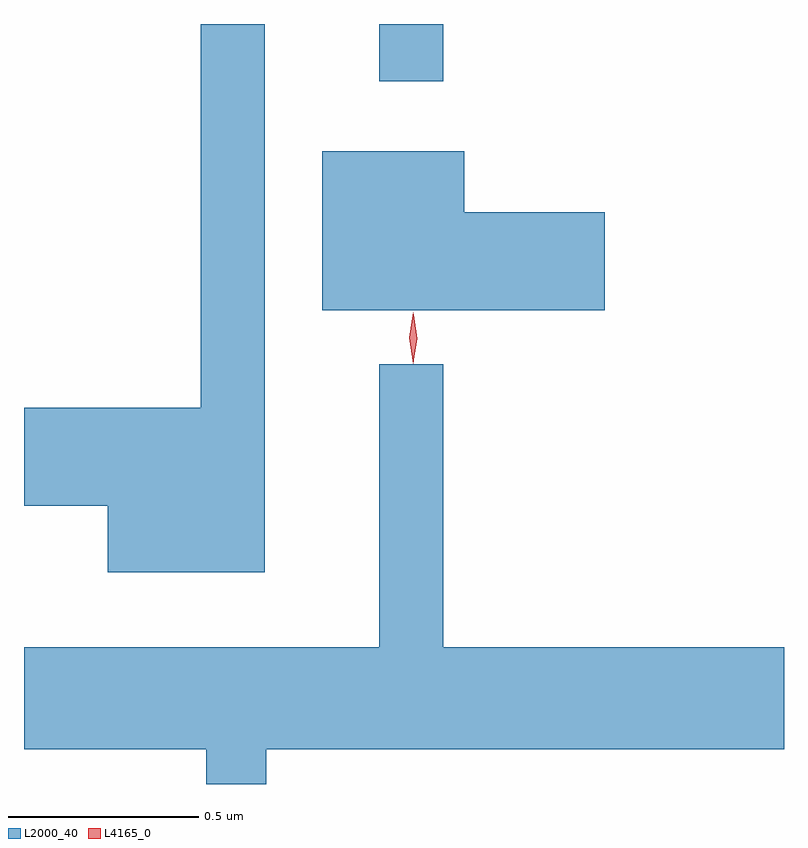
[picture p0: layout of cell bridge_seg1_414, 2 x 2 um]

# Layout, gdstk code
import gdstk
lib = gdstk.Library(unit=1e-6, precision=1e-09)
def R(c, l, rs):  # rectangles x0, y0, x1, y1
    for r in rs: c.add(gdstk.rectangle(r[:2], r[2:], *l))
def P(c, l, *ps):  # polygons
    for p in ps: c.add(gdstk.Polygon(p, *l))
L2000_40 = (2000, 40)
L4165_0 = (4165, 0)

bridge_seg1_414 = lib.new_cell('bridge_seg1_414')
R(bridge_seg1_414, L2000_40, [(442.451,970.153,442.619,970.304)])
P(bridge_seg1_414, L2000_40, [(442.149,970.304),(441.981,970.304),(441.981,969.294),(441.516,969.294),(441.516,969.036),(441.736,969.036),(441.736,968.861),(442.149,968.861)],
  [(443.044,969.809),(442.674,969.809),(442.674,969.969),(442.301,969.969),(442.301,969.551),(443.044,969.551)],
  [(442.154,968.396),(443.516,968.396),(443.516,968.664),(442.619,968.664),(442.619,969.408),(442.451,969.408),(442.451,968.664),(441.516,968.664),(441.516,968.396),(441.996,968.396),(441.996,968.304),(442.154,968.304)])
P(bridge_seg1_414, L4165_0, [(442.54,969.41),(442.54,969.41),(442.53,969.478),(442.54,969.546),(442.54,969.546),(442.54,969.546),(442.55,969.478),(442.54,969.41)],
  [(442.54,969.413),(442.54,969.413),(442.531,969.476),(442.541,969.539),(442.542,969.54),(442.542,969.539),(442.551,969.476),(442.54,969.413)])

lib.write_gds('bridge_seg1_414.gds')
